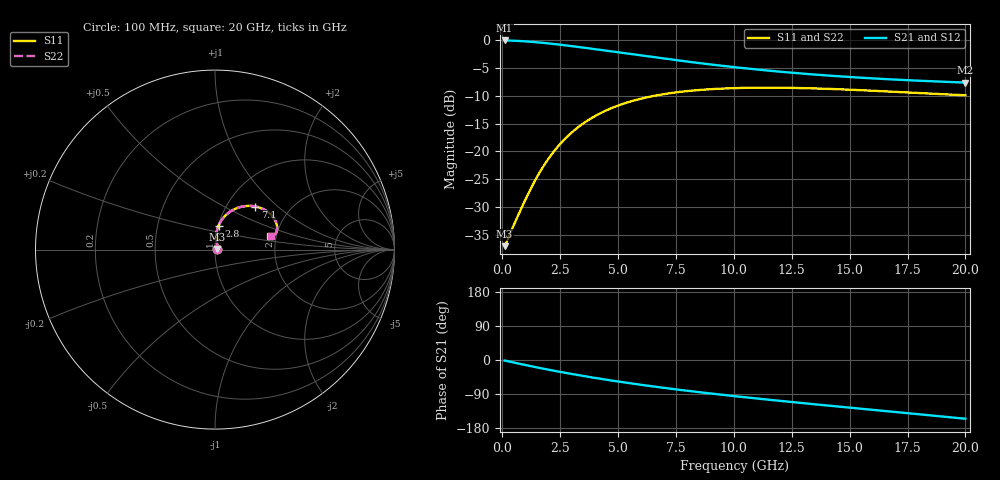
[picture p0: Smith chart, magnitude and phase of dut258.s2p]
! Touchstone file exported from HFSS 2024.1.0
!  File:  C:/UserFiles/LocalFiles/RDL_TSV_Batchsim/temp_RDL_TSV_258_1779458658.aedt
!  Generated:  10:20:06 PM May 22, 2026
!  Design:  RDL_TSV
!  Project:  temp_RDL_TSV_258_1779458658
!  Setup:  Setup1
!  Solution:  Sweep
! Variables:
!  dtsv = 6.41um
!  hbump = 3um
!  htsv = 71.62um
!  ldown = 423.01um
!  lrdl = 216.55um
!  p = 40
!  p1 = 56.51um
!  rhole = 10um
!  subl = 2135.23um
!  t = 450um
!  tdown = 2.51um
!  trdl = 3.77um
!  viad = 10um
!  wdown = 20.47um
!  wrdl = 23.53um
!  xbump = 18um
# GHz S MA R 50.000000
! Terminal data exported
! Port[1] = TM1_1_T1
! Port[2] = TM1_4_T1
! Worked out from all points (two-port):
!   200 points, 100 MHz to 20 GHz, reference 50 ohm
!   highest |S21| = -0.12 dB at 100 MHz (marker M1); lowest = -7.7 dB at 20 GHz (marker M2)
!   |S21| within 3 dB of the highest: start of sweep to 6.545 GHz
!   lowest |S11| = -37.0 dB at 100 MHz (marker M3), VSWR 1.03, Z = 51.4 + j0.382 ohm
!   |S11| at or under -10 dB: start of sweep to 6.609 GHz
!   |S22| runs from -37.0 to -8.6 dB; largest |S21 - S12| = 1.7e-14
!   S11 on the Smith chart (normalised r, x): 100 MHz: 1.03, +0.01; 2.8 GHz: 1.00, +0.27; 7.1 GHz: 1.35, +0.73; 20 GHz: 1.86, +0.32
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0.1  0.01418 15.2  0.9861 -1.4  0.9861 -1.4  0.01418 15.2
! Gamma 0 0 0 0
! Port Impedance 50 0 50 0
0.5  0.02198 51.5  0.9805 -6.8  0.9805 -6.8  0.02198 51.5
0.9  0.03348 70.3  0.9708 -12.0  0.9708 -12.0  0.03349 70.3
1.2  0.04511 78.4  0.9612 -15.9  0.9612 -15.9  0.04512 78.5
1.5  0.05912 82.9  0.9497 -19.6  0.9497 -19.6  0.05915 82.9
1.8  0.07505 84.7  0.9368 -23.3  0.9368 -23.3  0.07509 84.8
2.1  0.09235 84.9  0.9229 -26.8  0.9229 -26.8  0.09241 85.0
2.4  0.1105 84.0  0.9082 -30.3  0.9082 -30.3  0.1106 84.0
2.8  0.1354 81.6  0.8878 -34.7  0.8878 -34.7  0.1355 81.7
3.5  0.1783 76.1  0.851 -42.2  0.851 -42.2  0.1785 76.1
4.2  0.218 69.9  0.814 -49.2  0.814 -49.2  0.2182 69.9
5  0.2575 62.8  0.7725 -56.8  0.7725 -56.8  0.2578 62.9
5.8  0.2901 56.3  0.7329 -63.8  0.7329 -63.8  0.2904 56.3
6.8  0.3215 48.9  0.6867 -72.1  0.6867 -72.1  0.3219 48.9
7.1  0.3291 46.8  0.6737 -74.5  0.6737 -74.5  0.3295 46.9
8.5  0.355 38.4  0.6185 -84.9  0.6185 -84.9  0.3555 38.4
10.1  0.3694 30.6  0.5662 -95.8  0.5662 -95.8  0.37 30.6
11.7  0.3724 24.5  0.5245 -106.0  0.5245 -106.0  0.373 24.5
13.4  0.3672 19.6  0.4896 -116.3  0.4896 -116.3  0.3679 19.6
15  0.3573 16.4  0.4641 -125.8  0.4641 -125.8  0.3581 16.4
16.7  0.3439 14.3  0.4428 -135.7  0.4428 -135.7  0.3447 14.3
20  0.3186 14.2  0.4137 -155.0  0.4137 -155.0  0.3193 14.2
